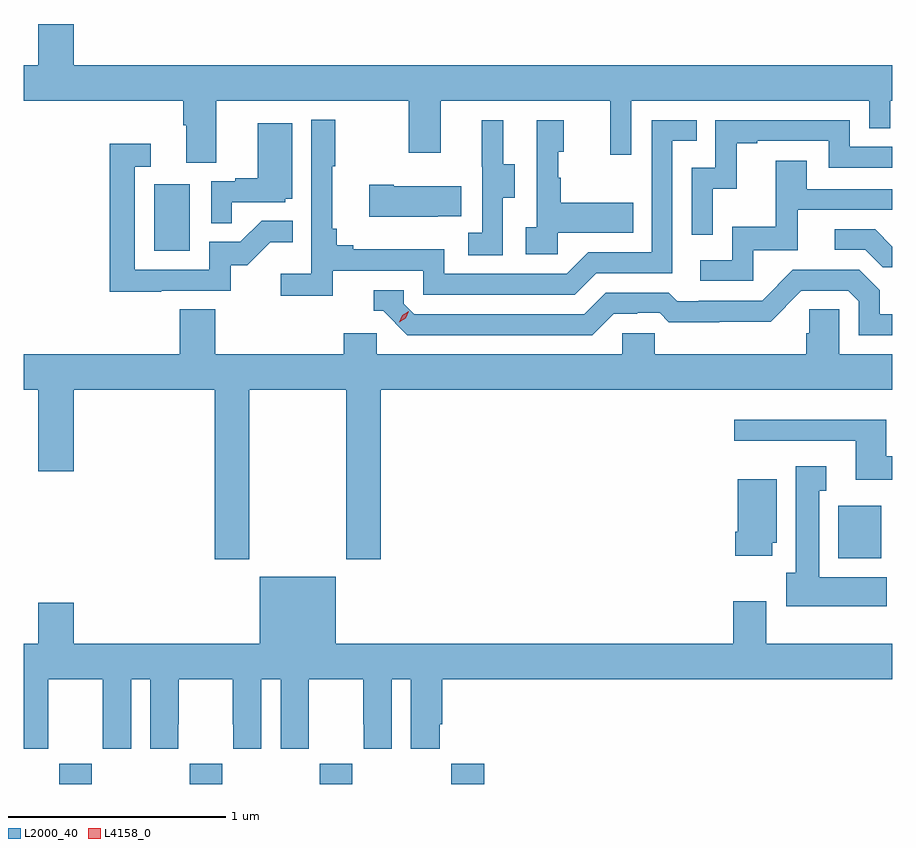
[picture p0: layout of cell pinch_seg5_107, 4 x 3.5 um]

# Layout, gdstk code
import gdstk
lib = gdstk.Library(unit=1e-6, precision=1e-09)
def R(c, l, rs):  # rectangles x0, y0, x1, y1
    for r in rs: c.add(gdstk.rectangle(r[:2], r[2:], *l))
def A(c, l, x, y, w, h, nx, ny, dx, dy):  # array of equal rectangles
    R(c, l, [(x+i*dx, y+j*dy, x+i*dx+w, y+j*dy+h) for i in range(nx) for j in range(ny)])
def P(c, l, *ps):  # polygons
    for p in ps: c.add(gdstk.Polygon(p, *l))
L2000_40 = (2000, 40)
L4158_0 = (4158, 0)

pinch_seg5_107 = lib.new_cell('pinch_seg5_107')
A(pinch_seg5_107, L2000_40, 1040.229, 880.254, 0.15, 0.094, 3, 1, 0.6, 0)
R(pinch_seg5_107, L2000_40, [(1042.033,880.254,1042.187,880.348), (1043.816,881.294,1044.013,881.536), (1040.666,882.708,1040.83,883.015)])
P(pinch_seg5_107, L2000_40, [(1040.953,883.4),(1041.838,883.4),(1041.838,883.161),(1041.985,883.161),(1041.985,883.4),(1042.766,883.4),(1042.766,883.152),(1042.863,883.152),(1042.863,883.4),(1043.958,883.4),(1043.958,883.273),(1044.054,883.273),(1044.054,883.4),(1044.065,883.4),(1044.065,883.564),(1040.296,883.564),(1040.296,883.753),(1040.132,883.753),(1040.132,883.564),(1040.065,883.564),(1040.065,883.4),(1040.801,883.4),(1040.801,883.288),(1040.813,883.288),(1040.813,883.114),(1040.953,883.114)],
  [(1041.488,882.618),(1041.906,882.618),(1041.906,882.507),(1042.603,882.507),(1042.702,882.606),(1043.052,882.606),(1043.052,883.215),(1043.165,883.215),(1043.165,883.311),(1042.956,883.311),(1042.956,882.702),(1042.665,882.702),(1042.566,882.603),(1042.002,882.603),(1042.002,882.715),(1041.583,882.715),(1041.583,882.734),(1041.506,882.734),(1041.506,882.811),(1041.487,882.811),(1041.487,883.099),(1041.499,883.099),(1041.499,883.312),(1041.39,883.312),(1041.39,882.604),(1041.249,882.604),(1041.249,882.502),(1041.488,882.502)],
  [(1043.238,882.995),(1043.348,882.995),(1043.348,883.203),(1043.443,883.203),(1043.443,883.215),(1043.772,883.215),(1043.772,883.092),(1044.065,883.092),(1044.065,883.188),(1043.868,883.188),(1043.868,883.311),(1043.25,883.311),(1043.25,883.092),(1043.142,883.092),(1043.142,882.783),(1043.238,882.783)],
  [(1042.524,882.791),(1042.871,882.791),(1042.871,882.931),(1042.537,882.931),(1042.537,883.046),(1042.527,883.046),(1042.527,883.164),(1042.552,883.164),(1042.552,883.309),(1042.428,883.309),(1042.428,882.818),(1042.377,882.818),(1042.377,882.693),(1042.524,882.693)],
  [(1042.272,882.952),(1042.327,882.952),(1042.327,883.107),(1042.273,883.107),(1042.273,883.309),(1042.175,883.309),(1042.175,883.095),(1042.176,883.095),(1042.176,882.791),(1042.113,882.791),(1042.113,882.688),(1042.272,882.688)],
  [(1041.023,882.933),(1041.27,882.933),(1041.27,882.948),(1041.301,882.948),(1041.301,883.297),(1041.143,883.297),(1041.143,883.042),(1041.039,883.042),(1041.039,883.029),(1040.928,883.029),(1040.928,882.835),(1041.023,882.835)],
  [(1040.699,882.525),(1041.018,882.525),(1041.018,882.642),(1041.094,882.642),(1041.201,882.749),(1041.305,882.749),(1041.305,882.848),(1041.161,882.848),(1041.063,882.75),(1040.919,882.75),(1040.919,882.621),(1040.577,882.621),(1040.577,883.095),(1040.65,883.095),(1040.65,883.201),(1040.461,883.201),(1040.461,882.52),(1040.699,882.52)],
  [(1043.424,882.711),(1043.629,882.711),(1043.629,882.897),(1044.065,882.897),(1044.065,882.993),(1043.671,882.993),(1043.671,883.123),(1043.527,883.123),(1043.527,882.82),(1043.328,882.82),(1043.328,882.666),(1043.18,882.666),(1043.18,882.57),(1043.424,882.57)],
  [(1041.971,882.869),(1042.079,882.869),(1042.079,883.006),(1041.769,883.006),(1041.769,883.014),(1041.657,883.014),(1041.657,882.866),(1041.971,882.866)],
  [(1044.065,882.728),(1043.986,882.807),(1043.799,882.807),(1043.799,882.714),(1043.94,882.714),(1044.02,882.634),(1044.065,882.634)],
  [(1042.783,882.42),(1042.89,882.42),(1042.89,882.423),(1042.993,882.423),(1043.035,882.381),(1043.268,882.381),(1043.268,882.383),(1043.504,882.383),(1043.646,882.525),(1043.862,882.525),(1043.91,882.477),(1043.91,882.321),(1044.065,882.321),(1044.065,882.417),(1044.007,882.417),(1044.007,882.527),(1043.913,882.621),(1043.607,882.621),(1043.466,882.48),(1043.173,882.48),(1043.173,882.477),(1043.074,882.477),(1043.035,882.516),(1042.746,882.516),(1042.647,882.417),(1041.864,882.417),(1041.816,882.465),(1041.816,882.528),(1041.677,882.528),(1041.677,882.432),(1041.72,882.432),(1041.831,882.321),(1042.684,882.321)],
  [(1041.105,882.068),(1041.55,882.068),(1041.55,881.289),(1041.71,881.289),(1041.71,882.068),(1044.065,882.068),(1044.065,882.232),(1043.82,882.232),(1043.82,882.44),(1043.683,882.44),(1043.683,882.33),(1043.669,882.33),(1043.669,882.232),(1042.971,882.232),(1042.971,882.33),(1042.821,882.33),(1042.821,882.232),(1041.69,882.232),(1041.69,882.33),(1041.539,882.33),(1041.539,882.232),(1040.948,882.232),(1040.948,882.44),(1040.783,882.44),(1040.783,882.232),(1040.065,882.232),(1040.065,882.068),(1040.132,882.068),(1040.132,881.694),(1040.296,881.694),(1040.296,882.068),(1040.945,882.068),(1040.945,881.289),(1041.105,881.289)],
  [(1044.065,881.764),(1044.037,881.764),(1044.037,881.932),(1043.337,881.932),(1043.337,881.835),(1043.897,881.835),(1043.897,881.654),(1044.065,881.654)],
  [(1044.04,881.206),(1043.728,881.206),(1043.728,881.603),(1043.761,881.603),(1043.761,881.716),(1043.621,881.716),(1043.621,881.226),(1043.576,881.226),(1043.576,881.072),(1044.04,881.072)],
  [(1043.512,881.364),(1043.533,881.364),(1043.533,881.656),(1043.354,881.656),(1043.354,881.416),(1043.342,881.416),(1043.342,881.304),(1043.512,881.304)],
  [(1040.178,880.528),(1040.179,880.528),(1040.179,880.736),(1040.429,880.736),(1040.429,880.528),(1040.43,880.528),(1040.43,880.416),(1040.56,880.416),(1040.56,880.736),(1040.648,880.736),(1040.648,880.416),(1040.778,880.416),(1040.778,880.528),(1040.779,880.528),(1040.779,880.736),(1041.029,880.736),(1041.029,880.528),(1041.03,880.528),(1041.03,880.416),(1041.16,880.416),(1041.16,880.736),(1041.248,880.736),(1041.248,880.416),(1041.378,880.416),(1041.378,880.528),(1041.379,880.528),(1041.379,880.736),(1041.629,880.736),(1041.629,880.528),(1041.63,880.528),(1041.63,880.416),(1041.76,880.416),(1041.76,880.736),(1041.848,880.736),(1041.848,880.416),(1041.982,880.416),(1041.982,880.528),(1041.992,880.528),(1041.992,880.736),(1044.065,880.736),(1044.065,880.9),(1043.485,880.9),(1043.485,881.095),(1043.333,881.095),(1043.333,880.9),(1041.502,880.9),(1041.502,881.209),(1041.152,881.209),(1041.152,880.9),(1040.296,880.9),(1040.296,881.089),(1040.132,881.089),(1040.132,880.9),(1040.065,880.9),(1040.065,880.416),(1040.178,880.416)])
P(pinch_seg5_107, L4158_0, [(1041.794,882.379),(1041.794,882.379),(1041.809,882.412),(1041.839,882.431),(1041.839,882.431),(1041.839,882.431),(1041.824,882.398),(1041.794,882.379)])

lib.write_gds('pinch_seg5_107.gds')
